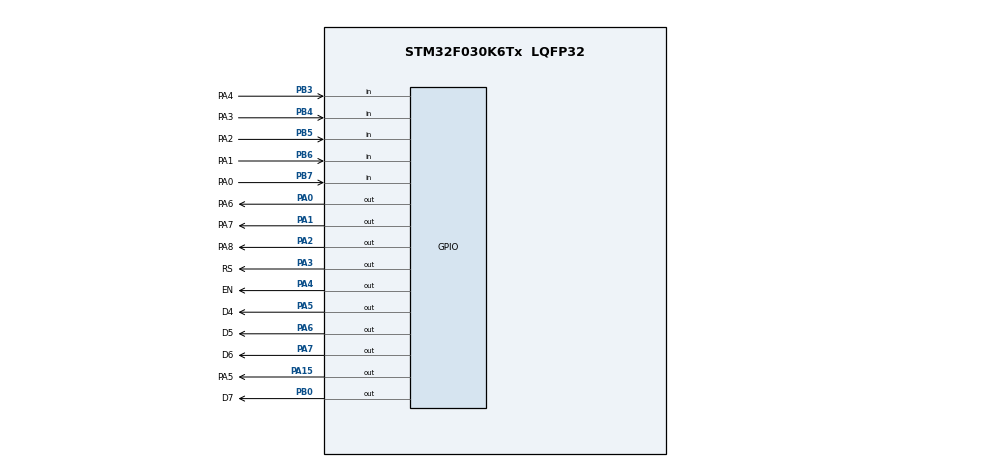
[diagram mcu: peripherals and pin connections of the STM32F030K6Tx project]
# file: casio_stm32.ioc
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Mcu.Family=STM32F0
Mcu.Name=STM32F030K6Tx
Mcu.Package=LQFP32
NVIC.TIM3_IRQn=true\:3\:0\:false\:false\:true\:false\:true\:true
NVIC.TimeBase=TIM3_IRQn
NVIC.TimeBaseIP=TIM3
PA0.GPIO_Label=PA6
PA0.Signal=GPIO_Output
PA1.GPIO_Label=PA7
PA1.Signal=GPIO_Output
PA13.Mode=Serial_Wire
PA13.Signal=SYS_SWDIO
PA14.Mode=Serial_Wire
PA14.Signal=SYS_SWCLK
PA15.GPIO_Label=PA5
PA15.Signal=GPIO_Output
PA2.GPIO_Label=PA8
PA2.Signal=GPIO_Output
PA3.GPIO_Label=RS
PA3.Signal=GPIO_Output
PA4.GPIO_Label=EN
PA4.Signal=GPIO_Output
PA5.GPIO_Label=D4
PA5.Signal=GPIO_Output
PA6.GPIO_Label=D5
PA6.Signal=GPIO_Output
PA7.GPIO_Label=D6
PA7.Signal=GPIO_Output
PB0.GPIO_Label=D7
PB0.Signal=GPIO_Output
PB3.GPIO_Label=PA4
PB3.GPIO_PuPd=GPIO_PULLUP
PB3.Signal=GPIO_Input
PB4.GPIO_Label=PA3
PB4.GPIO_PuPd=GPIO_PULLUP
PB4.Signal=GPIO_Input
PB5.GPIO_Label=PA2
PB5.GPIO_PuPd=GPIO_PULLUP
PB5.Signal=GPIO_Input
PB6.GPIO_Label=PA1
PB6.GPIO_PuPd=GPIO_PULLUP
PB6.Signal=GPIO_Input
PB7.GPIO_Label=PA0
PB7.GPIO_PuPd=GPIO_PULLUP
PB7.Signal=GPIO_Input
ProjectManager.HeapSize=0x200
ProjectManager.StackSize=0x400
ProjectManager.TargetToolchain=STM32CubeIDE
VP_SYS_VS_tim3.Mode=TIM3
board=custom

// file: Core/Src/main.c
/* USER CODE BEGIN Header */
/**
 ******************************************************************************
 * @file           : main.c
 * @brief          : Main program body
 ******************************************************************************
 * @attention
 *
 * Copyright (c) 2025 STMicroelectronics.
 * All rights reserved.
 *
 * This software is licensed under terms that can be found in the LICENSE file
 * in the root directory of this software component.
 * If no LICENSE file comes with this software, it is provided AS-IS.
 *
 ******************************************************************************
 */
/* USER CODE END Header */
/* USER CODE BEGIN Includes */
#include "stdio.h"
#include "app_main.h"
//#define EPS 1e-4f
//#define STEP 1.0f
/* USER CODE END Includes */

void SystemClock_Config(void);
static void MX_GPIO_Init(void);

/* USER CODE BEGIN 0 */
void vApplicationMallocFailedHook(void) {
	taskDISABLE_INTERRUPTS();
	for (;;)
		;
}

void vApplicationStackOverflowHook(TaskHandle_t xTask, char *pcTaskName) {
	(void) xTask;
	(void) pcTaskName;
	taskDISABLE_INTERRUPTS();
	for (;;)
		;
}

void vTask_UpdateDisplay(void *parameters) {
	char choice;
	LCD_setCursor(0, 0);
	LCD_puts("1.Tinh toan");
	LCD_setCursor(1, 0);
	LCD_puts("2.Giai pt");
	while (1) {
		choice = keyPad_scan();
		if (choice != 'c') {
			if (choice == '1') {
				LCD_setCursor(0, 15);
				LCD_puts(".");
				vTaskDelay(pdMS_TO_TICKS(500));
				LCD_clear();
				App_RunCalculatorMode();
				LCD_setCursor(0, 0);
				LCD_puts("1.Tinh toan");
				LCD_setCursor(1, 0);
				LCD_puts("2.Giai pt");

			} else if (choice == '2') {
				LCD_setCursor(1, 15);
				LCD_puts(".");
				vTaskDelay(pdMS_TO_TICKS(500));
				LCD_clear();
				App_RunSolverMode();
				LCD_setCursor(0, 0);
				LCD_puts("1.Tinh toan");
				LCD_setCursor(1, 0);
				LCD_puts("2.Giai pt");
			}
		}
	}
}

/* USER CODE END 0 */

int main(void) {

	/* MCU Configuration--------------------------------------------------------*/

	/* Reset of all peripherals, Initializes the Flash interface and the Systick. */
	HAL_Init();

	/* Configure the system clock */
	SystemClock_Config();

	/* Initialize all configured peripherals */
	MX_GPIO_Init();
	/* USER CODE BEGIN 2 */
	LCD_init();
	xTaskCreate(vTask_UpdateDisplay, "OUTPUT", 280, NULL, 1, NULL);
	vTaskStartScheduler();
	/* USER CODE END 2 */

	/* Infinite loop */
	while (1) {

	}
}

void SystemClock_Config(void) {
	RCC_OscInitTypeDef RCC_OscInitStruct = { 0 };
	RCC_ClkInitTypeDef RCC_ClkInitStruct = { 0 };

	/** Initializes the RCC Oscillators according to the specified parameters
	 * in the RCC_OscInitTypeDef structure.
	 */
	RCC_OscInitStruct.OscillatorType = RCC_OSCILLATORTYPE_HSI;
	RCC_OscInitStruct.HSIState = RCC_HSI_ON;
	RCC_OscInitStruct.HSICalibrationValue = RCC_HSICALIBRATION_DEFAULT;
	RCC_OscInitStruct.PLL.PLLState = RCC_PLL_NONE;
	if (HAL_RCC_OscConfig(&RCC_OscInitStruct) != HAL_OK) {
		Error_Handler();
	}

	/** Initializes the CPU, AHB and APB buses clocks
	 */
	RCC_ClkInitStruct.ClockType = RCC_CLOCKTYPE_HCLK | RCC_CLOCKTYPE_SYSCLK
			| RCC_CLOCKTYPE_PCLK1;
	RCC_ClkInitStruct.SYSCLKSource = RCC_SYSCLKSOURCE_HSI;
	RCC_ClkInitStruct.AHBCLKDivider = RCC_SYSCLK_DIV1;
	RCC_ClkInitStruct.APB1CLKDivider = RCC_HCLK_DIV1;

	if (HAL_RCC_ClockConfig(&RCC_ClkInitStruct, FLASH_LATENCY_0) != HAL_OK) {
		Error_Handler();
	}
}

static void MX_GPIO_Init(void) {
	GPIO_InitTypeDef GPIO_InitStruct = { 0 };

	/* GPIO Ports Clock Enable */
	__HAL_RCC_GPIOA_CLK_ENABLE();
	__HAL_RCC_GPIOB_CLK_ENABLE();

	/*Configure GPIO pin Output Level */
	HAL_GPIO_WritePin(GPIOA,
			PA6_Pin | PA7_Pin | PA8_Pin | RS_Pin | EN_Pin | D4_Pin | D5_Pin
					| D6_Pin | PA5_Pin, GPIO_PIN_RESET);

	/*Configure GPIO pin Output Level */
	HAL_GPIO_WritePin(D7_GPIO_Port, D7_Pin, GPIO_PIN_RESET);

	/*Configure GPIO pins : PA6_Pin PA7_Pin PA8_Pin RS_Pin
	 EN_Pin D4_Pin D5_Pin D6_Pin
	 PA5_Pin */
	GPIO_InitStruct.Pin = PA6_Pin | PA7_Pin | PA8_Pin | RS_Pin | EN_Pin | D4_Pin
			| D5_Pin | D6_Pin | PA5_Pin;
	GPIO_InitStruct.Mode = GPIO_MODE_OUTPUT_PP;
	GPIO_InitStruct.Pull = GPIO_NOPULL;
	GPIO_InitStruct.Speed = GPIO_SPEED_FREQ_LOW;
	HAL_GPIO_Init(GPIOA, &GPIO_InitStruct);

	/*Configure GPIO pin : D7_Pin */
	GPIO_InitStruct.Pin = D7_Pin;
	GPIO_InitStruct.Mode = GPIO_MODE_OUTPUT_PP;
	GPIO_InitStruct.Pull = GPIO_NOPULL;
	GPIO_InitStruct.Speed = GPIO_SPEED_FREQ_LOW;
	HAL_GPIO_Init(D7_GPIO_Port, &GPIO_InitStruct);

	/*Configure GPIO pins : PA4_Pin PA3_Pin PA2_Pin PA1_Pin
	 PA0_Pin */
	GPIO_InitStruct.Pin = PA4_Pin | PA3_Pin | PA2_Pin | PA1_Pin | PA0_Pin;
	GPIO_InitStruct.Mode = GPIO_MODE_INPUT;
	GPIO_InitStruct.Pull = GPIO_PULLUP;
	HAL_GPIO_Init(GPIOB, &GPIO_InitStruct);

}

void HAL_TIM_PeriodElapsedCallback(TIM_HandleTypeDef *htim) {
	if (htim->Instance == TIM3) {
		HAL_IncTick();
	}
}

void Error_Handler(void) {
	__disable_irq();
	while (1) {
	}
}
